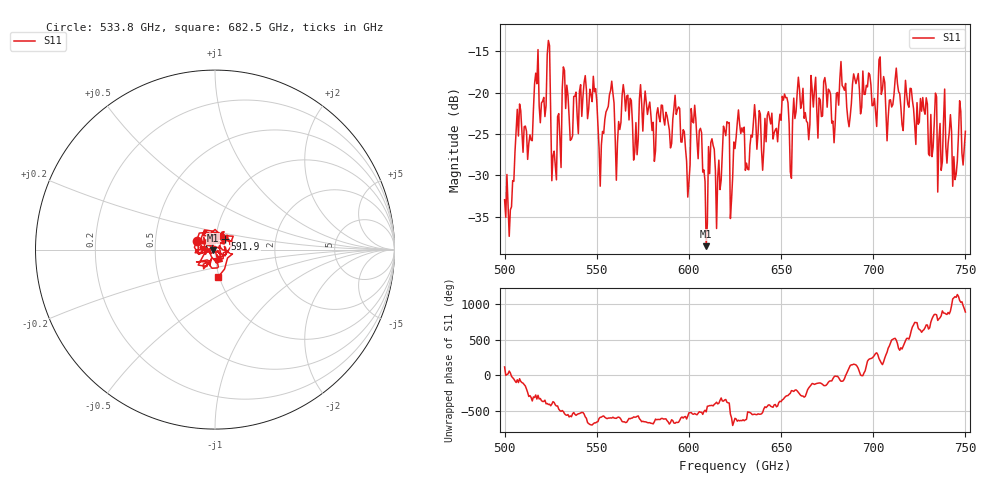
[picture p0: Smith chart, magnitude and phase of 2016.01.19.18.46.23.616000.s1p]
!Created with skrf (http://scikit-rf.org).
# GHz S RI R 50.0
!freq ReS11 ImS11
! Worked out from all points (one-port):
!   401 points, 500 GHz to 750 GHz, reference 50 ohm
!   lowest |S11| = -38.6 dB at 609.4 GHz (marker M1), VSWR 1.02, Z = 48.9 - j0.478 ohm
!   |S11| at or under -10 dB: start of sweep to end of sweep
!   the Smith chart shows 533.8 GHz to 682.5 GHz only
!   S11 on the Smith chart (normalised r, x): 533.8 GHz: 0.81, +0.08; 591.9 GHz: 1.11, +0.13; 682.5 GHz: 0.99, -0.31
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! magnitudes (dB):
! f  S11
! 500 GHz  -33.0
! 503.8 GHz  -33.8
! 507.5 GHz  -25.2
! 513.8 GHz  -25.1
! 516.9 GHz  -17.6
! 523.8 GHz  -13.7
! 526.9 GHz  -27.1
! 531.2 GHz  -19.6
! 533.8 GHz  -19.1
! 552.5 GHz  -26.3
! 562.5 GHz  -24.5
! 591.9 GHz  -21.9
! 593.8 GHz  -22.0
! 599.4 GHz  -32.6
! 602.5 GHz  -23.7
! 609.4 GHz  -38.6
! 611.9 GHz  -26.0
! 616.2 GHz  -28.2
! 620 GHz  -25.2
! 623.8 GHz  -30.2
! 625 GHz  -26.8
! 651.9 GHz  -20.2
! 656.2 GHz  -23.3
! 682.5 GHz  -16.2
! 687.5 GHz  -22.9
! 718.8 GHz  -21.4
! 744.4 GHz  -30.5
! 750 GHz  -24.7
